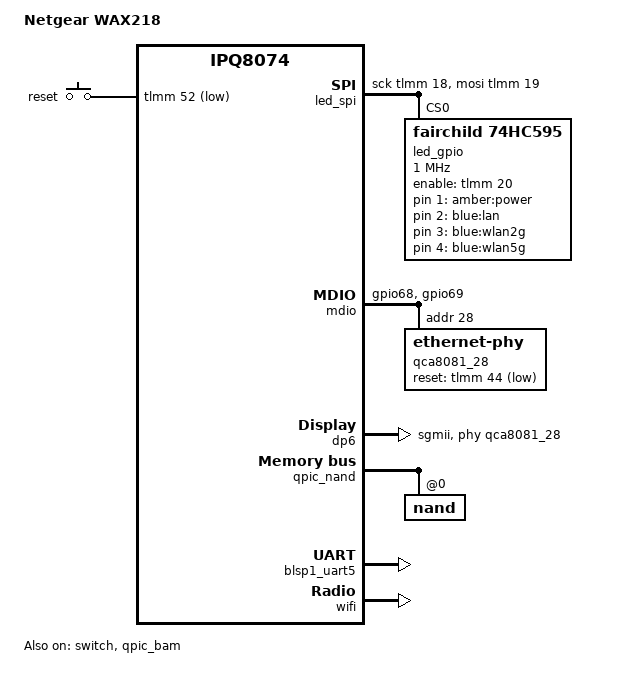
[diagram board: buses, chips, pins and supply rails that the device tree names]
/dts-v1/;

#include "ipq8074.dtsi"
#include "ipq8074-hk-cpu.dtsi"
#include "ipq8074-ess.dtsi"
#include "ipq8072-wax218-switch-vomit.dtsi"

#include <dt-bindings/input/input.h>
#include <dt-bindings/gpio/gpio.h>

#define GMAC_TYPE_QCOM 			0 /* 1G GMAC type */
#define GMAC_TYPE_SYNOPSYS_XGMAC	1 /* Synopsys XGMAC type */
#define GMAC_TYPE_SYNOPSYS_GMAC		2 /* Synopsys 1G GMAC type */

/ {
	#address-cells = <2>;
	#size-cells = <2>;

	model = "Netgear WAX218";
	compatible = "netgear,wax218", "qcom,ipq8074";
	interrupt-parent = <&intc>;

	aliases {
		serial0 = &blsp1_uart5;
		led-boot = &led_power;
		led-failsafe = &led_power;
		led-running = &led_power;
		led-upgrade = &led_power;
	};

	chosen {
		stdout-path = "serial0:115200n8";
		/*
		 * Netgear's U-Boot adds "ubi.mtd=rootfs root=mtd:ubi_rootfs"
		 * That fails to create a UBI block device, so add it here.
		*/
		bootargs-append = " ubi.block=0,rootfs root=/dev/ubiblock0_1";
	};

	keys {
		compatible = "gpio-keys";

		reset {
			label = "reset";
			gpios = <&tlmm 52 GPIO_ACTIVE_LOW>;
			linux,code = <KEY_RESTART>;
		};
	};

	led_spi {
		compatible = "spi-gpio";
		#address-cells = <1>;
		#size-cells = <0>;

		sck-gpios = <&tlmm 18 GPIO_ACTIVE_HIGH>;
		mosi-gpios = <&tlmm 19 GPIO_ACTIVE_HIGH>;

		led_gpio: led_gpio@0 {
			compatible = "fairchild,74hc595";
			reg = <0>;
			gpio-controller;
			#gpio-cells = <2>;
			registers-number = <1>;
			enable-gpios = <&tlmm 20 GPIO_ACTIVE_HIGH>;
			spi-max-frequency = <1000000>;
		};
	};

	leds {
		compatible = "gpio-leds";

		led_power: led-1 {
			label = "amber:power";
			gpios = <&led_gpio 1 GPIO_ACTIVE_HIGH>;
		};

		led_lan: led-2 {
			label = "blue:lan";
			gpios = <&led_gpio 2 GPIO_ACTIVE_HIGH>;
		};

		led_wlan_2g: led-3 {
			label = "blue:wlan2g";
			gpios = <&led_gpio 3 GPIO_ACTIVE_HIGH>;
		};

		led_wlan_5g: led-4 {
			label = "blue:wlan5g";
			gpios = <&led_gpio 4 GPIO_ACTIVE_HIGH>;
		};
	};
};

&edma {
	status = "okay";
};

&switch {
	status = "okay";
};

&tlmm {
	mdio_pins: mdio-pins {
		mdc {
			pins = "gpio68";
			function = "mdc";
			drive-strength = <8>;
			bias-pull-up;
		};

		mdio {
			pins = "gpio69";
			function = "mdio";
			drive-strength = <8>;
			bias-pull-up;
		};
	};
};

&mdio {
	status = "okay";

	pinctrl-0 = <&mdio_pins>;
	pinctrl-names = "default";

	qca8081_28: ethernet-phy@28 {
		reg = <28>;
		reset-gpios = <&tlmm 44 GPIO_ACTIVE_LOW>;
	};
};

&soc {
	dp6: dp@6 {
		compatible = "qcom,nss-dp";
		reg = <0x3a007000 0x200>;
		qcom,mactype = <GMAC_TYPE_SYNOPSYS_XGMAC>;
		qcom,id = <6>;

		phy-handle = <&qca8081_28>;
		phy-mode = "sgmii";
	};
};

&qpic_bam {
	status = "okay";
};

&qpic_nand {
	status = "okay";

	nand@0 {
		reg = <0>;
		nand-ecc-strength = <4>;
		nand-ecc-step-size = <512>;
		nand-bus-width = <8>;

		partitions {
			compatible = "qcom,smem-part";
		};
	};
};

&blsp1_uart5 {
	status = "okay";
};

&wifi {
	status = "okay";

	qcom,ath11k-calibration-variant = "Netgear-WAX218";
};
